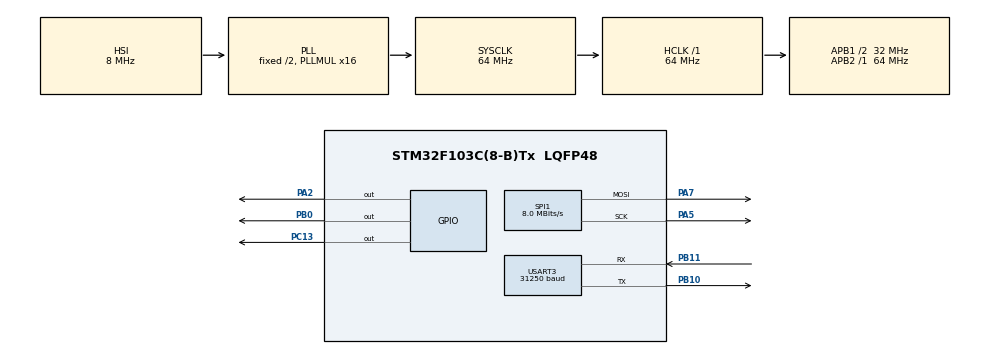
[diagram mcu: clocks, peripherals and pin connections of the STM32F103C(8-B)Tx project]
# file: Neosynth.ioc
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Mcu.Family=STM32F1
Mcu.Name=STM32F103C(8-B)Tx
Mcu.Package=LQFP48
NVIC.PriorityGroup=NVIC_PRIORITYGROUP_4
NVIC.TIM2_IRQn=true\:0\:0\:false\:false\:true\:true\:true
NVIC.USART3_IRQn=true\:0\:0\:false\:false\:true\:true\:true
PA13.Mode=Serial_Wire
PA13.Signal=SYS_JTMS-SWDIO
PA14.Mode=Serial_Wire
PA14.Signal=SYS_JTCK-SWCLK
PA2.Signal=GPIO_Output
PA5.Mode=TX_Only_Simplex_Unidirect_Master
PA5.Signal=SPI1_SCK
PA7.Mode=TX_Only_Simplex_Unidirect_Master
PA7.Signal=SPI1_MOSI
PB0.PinState=GPIO_PIN_SET
PB0.Signal=GPIO_Output
PB10.Mode=Asynchronous
PB10.Signal=USART3_TX
PB11.Mode=Asynchronous
PB11.Signal=USART3_RX
PC13-TAMPER-RTC.Signal=GPIO_Output
ProjectManager.HeapSize=0x200
ProjectManager.StackSize=0x400
ProjectManager.TargetToolchain=MDK-ARM V5
RCC.AHBFreq_Value=64000000
RCC.APB1CLKDivider=RCC_HCLK_DIV2
RCC.APB1Freq_Value=32000000
RCC.APB1TimFreq_Value=64000000
RCC.APB2Freq_Value=64000000
RCC.APB2TimFreq_Value=64000000
RCC.HCLKFreq_Value=64000000
RCC.PLLMUL=RCC_PLL_MUL16
RCC.SYSCLKFreq_VALUE=64000000
RCC.SYSCLKSource=RCC_SYSCLKSOURCE_PLLCLK
RCC.USBFreq_Value=64000000
SPI1.BaudRatePrescaler=SPI_BAUDRATEPRESCALER_8
SPI1.CalculateBaudRate=8.0 MBits/s
SPI1.DataSize=SPI_DATASIZE_16BIT
SPI1.Direction=SPI_DIRECTION_2LINES
SPI1.Mode=SPI_MODE_MASTER
SPI1.VirtualType=VM_MASTER
TIM2.Period=1451
USART3.BaudRate=31250
USART3.Mode=MODE_RX
USART3.VirtualMode=VM_ASYNC
VP_TIM2_VS_ClockSourceINT.Mode=Internal
board=custom

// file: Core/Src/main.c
/* USER CODE BEGIN Header */
/**
  ******************************************************************************
  * @file           : main.c
  * @brief          : Main program body
  ******************************************************************************
  * @attention
  *
  * <h2><center>&copy; Copyright (c) 2021 STMicroelectronics.
  * All rights reserved.</center></h2>
  *
  * This software component is licensed by ST under BSD 3-Clause license,
  * the "License"; You may not use this file except in compliance with the
  * License. You may obtain a copy of the License at:
  *                        opensource.org/licenses/BSD-3-Clause
  *
  ******************************************************************************
  */
/* USER CODE END Header */
#include "main.h"

SPI_HandleTypeDef hspi1;

TIM_HandleTypeDef htim2;

UART_HandleTypeDef huart3;

/* USER CODE BEGIN PV */
char in;
char on;
char note;
float m;
float output;
float frequencies [] = {27.5,29.135,30.868,32.703,34.648,36.708,38.891,41.203,43.654,46.249,48.999,51.913,55.0,58.27,61.735,65.406,69.296,73.416,77.782,82.407,87.307,92.499,97.999,103.826,110.0,116.541,123.471,130.813,138.591,146.832,155.563,164.814,174.614,184.997,195.998,207.652,220.0,233.082,246.942,261.626,277.183,293.665,311.127,329.628,349.228,369.994,391.995,415.305,440.0,466.164,493.883,523.251,554.365,587.33,622.254,659.255,698.456,739.989,783.991,830.609,880.0,932.328,987.767,1046.502,1108.731,1174.659,1244.508,1318.51,1396.913,1479.978,1567.982,1661.219,1760.0,1864.655,1975.533,2093.005,2217.461,2349.318,2489.016,2637.02,2793.826,2959.955,3135.963,3322.438,3520.0,3729.31,3951.066,4186.009};
/* USER CODE END PV */

void SystemClock_Config(void);
static void MX_GPIO_Init(void);
static void MX_USART3_UART_Init(void);
static void MX_SPI1_Init(void);
static void MX_TIM2_Init(void);

/* USER CODE BEGIN 0 */
void HAL_UART_RxCpltCallback(UART_HandleTypeDef *huart)
{
	if (on == 1)
	{
		note = in;
		m = 256.0f * frequencies[in - 21] / 44107.5121;
		HAL_GPIO_WritePin(GPIOA, GPIO_PIN_2, GPIO_PIN_SET);
		on = 2;
	}
	else if (on == 3)
	{
		if (note == in)
		{
			on = 0;
			note = 0;
			HAL_GPIO_WritePin(GPIOA, GPIO_PIN_2, GPIO_PIN_RESET);
		}
		else
		{
			on = 2;
		}
	}
	else if ((in & 0xF0) == 0x90)
	{
		on = 1;
	}
	else if ((in & 0xF0) == 0x80)
	{
		on = 3;
	}

	HAL_UART_Receive_IT (&huart3, (uint8_t *) &in, 1);
}

void set_dac_output (uint8_t output)
{
	uint16_t data = 0x0000 | (output << 4) | (0x7 << 12);
	HAL_GPIO_WritePin(GPIOB, GPIO_PIN_0, GPIO_PIN_RESET);
	HAL_SPI_Transmit(&hspi1, (uint8_t *) &data, 1, 10);
	HAL_GPIO_WritePin(GPIOB, GPIO_PIN_0, GPIO_PIN_SET);
}

void HAL_TIM_PeriodElapsedCallback(TIM_HandleTypeDef *htim)
{
	set_dac_output (note ? (uint8_t) output : 0);
	output += m;
	if (output >= 255.0f)
	{
		output = 0.0f;
	}
}

/* USER CODE END 0 */

int main(void)
{

  /* MCU Configuration--------------------------------------------------------*/

  /* Reset of all peripherals, Initializes the Flash interface and the Systick. */
  HAL_Init();

  /* USER CODE BEGIN Init */
	on = 0;
	note = 0;
	m = 0;
	output = 0.0f;
  /* USER CODE END Init */

  /* Configure the system clock */
  SystemClock_Config();

  /* Initialize all configured peripherals */
  MX_GPIO_Init();
  MX_USART3_UART_Init();
  MX_SPI1_Init();
  MX_TIM2_Init();
  /* USER CODE BEGIN 2 */
	HAL_UART_Receive_IT (&huart3, (uint8_t *) &in, 1);
	HAL_TIM_Base_Start_IT(&htim2);
  /* USER CODE END 2 */

  /* Infinite loop */
  while (1)
  {

  }
}

void SystemClock_Config(void)
{
  RCC_OscInitTypeDef RCC_OscInitStruct = {0};
  RCC_ClkInitTypeDef RCC_ClkInitStruct = {0};

  /** Initializes the RCC Oscillators according to the specified parameters
  * in the RCC_OscInitTypeDef structure.
  */
  RCC_OscInitStruct.OscillatorType = RCC_OSCILLATORTYPE_HSI;
  RCC_OscInitStruct.HSIState = RCC_HSI_ON;
  RCC_OscInitStruct.HSICalibrationValue = RCC_HSICALIBRATION_DEFAULT;
  RCC_OscInitStruct.PLL.PLLState = RCC_PLL_ON;
  RCC_OscInitStruct.PLL.PLLSource = RCC_PLLSOURCE_HSI_DIV2;
  RCC_OscInitStruct.PLL.PLLMUL = RCC_PLL_MUL16;
  if (HAL_RCC_OscConfig(&RCC_OscInitStruct) != HAL_OK)
  {
    Error_Handler();
  }
  /** Initializes the CPU, AHB and APB buses clocks
  */
  RCC_ClkInitStruct.ClockType = RCC_CLOCKTYPE_HCLK|RCC_CLOCKTYPE_SYSCLK
                              |RCC_CLOCKTYPE_PCLK1|RCC_CLOCKTYPE_PCLK2;
  RCC_ClkInitStruct.SYSCLKSource = RCC_SYSCLKSOURCE_PLLCLK;
  RCC_ClkInitStruct.AHBCLKDivider = RCC_SYSCLK_DIV1;
  RCC_ClkInitStruct.APB1CLKDivider = RCC_HCLK_DIV2;
  RCC_ClkInitStruct.APB2CLKDivider = RCC_HCLK_DIV1;

  if (HAL_RCC_ClockConfig(&RCC_ClkInitStruct, FLASH_LATENCY_2) != HAL_OK)
  {
    Error_Handler();
  }
}

static void MX_SPI1_Init(void)
{

  /* SPI1 parameter configuration*/
  hspi1.Instance = SPI1;
  hspi1.Init.Mode = SPI_MODE_MASTER;
  hspi1.Init.Direction = SPI_DIRECTION_2LINES;
  hspi1.Init.DataSize = SPI_DATASIZE_16BIT;
  hspi1.Init.CLKPolarity = SPI_POLARITY_LOW;
  hspi1.Init.CLKPhase = SPI_PHASE_1EDGE;
  hspi1.Init.NSS = SPI_NSS_SOFT;
  hspi1.Init.BaudRatePrescaler = SPI_BAUDRATEPRESCALER_8;
  hspi1.Init.FirstBit = SPI_FIRSTBIT_MSB;
  hspi1.Init.TIMode = SPI_TIMODE_DISABLE;
  hspi1.Init.CRCCalculation = SPI_CRCCALCULATION_DISABLE;
  hspi1.Init.CRCPolynomial = 10;
  if (HAL_SPI_Init(&hspi1) != HAL_OK)
  {
    Error_Handler();
  }

}

static void MX_TIM2_Init(void)
{

  TIM_ClockConfigTypeDef sClockSourceConfig = {0};
  TIM_MasterConfigTypeDef sMasterConfig = {0};

  htim2.Instance = TIM2;
  htim2.Init.Prescaler = 0;
  htim2.Init.CounterMode = TIM_COUNTERMODE_UP;
  htim2.Init.Period = 1451;
  htim2.Init.ClockDivision = TIM_CLOCKDIVISION_DIV1;
  htim2.Init.AutoReloadPreload = TIM_AUTORELOAD_PRELOAD_DISABLE;
  if (HAL_TIM_Base_Init(&htim2) != HAL_OK)
  {
    Error_Handler();
  }
  sClockSourceConfig.ClockSource = TIM_CLOCKSOURCE_INTERNAL;
  if (HAL_TIM_ConfigClockSource(&htim2, &sClockSourceConfig) != HAL_OK)
  {
    Error_Handler();
  }
  sMasterConfig.MasterOutputTrigger = TIM_TRGO_RESET;
  sMasterConfig.MasterSlaveMode = TIM_MASTERSLAVEMODE_DISABLE;
  if (HAL_TIMEx_MasterConfigSynchronization(&htim2, &sMasterConfig) != HAL_OK)
  {
    Error_Handler();
  }

}

static void MX_USART3_UART_Init(void)
{

  huart3.Instance = USART3;
  huart3.Init.BaudRate = 31250;
  huart3.Init.WordLength = UART_WORDLENGTH_8B;
  huart3.Init.StopBits = UART_STOPBITS_1;
  huart3.Init.Parity = UART_PARITY_NONE;
  huart3.Init.Mode = UART_MODE_RX;
  huart3.Init.HwFlowCtl = UART_HWCONTROL_NONE;
  huart3.Init.OverSampling = UART_OVERSAMPLING_16;
  if (HAL_UART_Init(&huart3) != HAL_OK)
  {
    Error_Handler();
  }

}

static void MX_GPIO_Init(void)
{
  GPIO_InitTypeDef GPIO_InitStruct = {0};

  /* GPIO Ports Clock Enable */
  __HAL_RCC_GPIOC_CLK_ENABLE();
  __HAL_RCC_GPIOA_CLK_ENABLE();
  __HAL_RCC_GPIOB_CLK_ENABLE();

  /*Configure GPIO pin Output Level */
  HAL_GPIO_WritePin(GPIOC, GPIO_PIN_13, GPIO_PIN_RESET);

  /*Configure GPIO pin Output Level */
  HAL_GPIO_WritePin(GPIOA, GPIO_PIN_2, GPIO_PIN_RESET);

  /*Configure GPIO pin Output Level */
  HAL_GPIO_WritePin(GPIOB, GPIO_PIN_0, GPIO_PIN_SET);

  /*Configure GPIO pin : PC13 */
  GPIO_InitStruct.Pin = GPIO_PIN_13;
  GPIO_InitStruct.Mode = GPIO_MODE_OUTPUT_PP;
  GPIO_InitStruct.Pull = GPIO_NOPULL;
  GPIO_InitStruct.Speed = GPIO_SPEED_FREQ_LOW;
  HAL_GPIO_Init(GPIOC, &GPIO_InitStruct);

  /*Configure GPIO pin : PA2 */
  GPIO_InitStruct.Pin = GPIO_PIN_2;
  GPIO_InitStruct.Mode = GPIO_MODE_OUTPUT_PP;
  GPIO_InitStruct.Pull = GPIO_NOPULL;
  GPIO_InitStruct.Speed = GPIO_SPEED_FREQ_LOW;
  HAL_GPIO_Init(GPIOA, &GPIO_InitStruct);

  /*Configure GPIO pin : PB0 */
  GPIO_InitStruct.Pin = GPIO_PIN_0;
  GPIO_InitStruct.Mode = GPIO_MODE_OUTPUT_PP;
  GPIO_InitStruct.Pull = GPIO_NOPULL;
  GPIO_InitStruct.Speed = GPIO_SPEED_FREQ_LOW;
  HAL_GPIO_Init(GPIOB, &GPIO_InitStruct);

}

void Error_Handler(void)
{
  __disable_irq();
  while (1)
  {
  }
}

/************************ (C) COPYRIGHT STMicroelectronics *****END OF FILE****/
